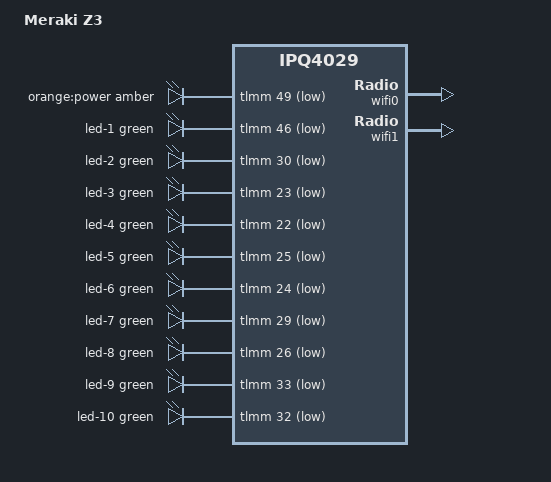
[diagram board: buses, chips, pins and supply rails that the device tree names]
// SPDX-License-Identifier: GPL-2.0-only
// Device Tree Source for Meraki Z3 (Fuzzy Cricket)

#include "qcom-ipq4029-wired-qca-common.dtsi"

/ {
	model = "Meraki Z3";
	compatible = "meraki,z3";
	leds {
		compatible = "gpio-leds";

		power_orange: power {
			color = <LED_COLOR_ID_AMBER>;
			function = LED_FUNCTION_POWER;
			label = "orange:power";
			gpios = <&tlmm 49 GPIO_ACTIVE_LOW>;
			panic-indicator;
		};

		led-1 {
			/* WAN left */
			color = <LED_COLOR_ID_GREEN>;
			function = LED_FUNCTION_WAN;
			function-enumerator = <0>;
			gpios = <&tlmm 46 GPIO_ACTIVE_LOW>;
		};

		led-2 {
			/* WAN right */
			color = <LED_COLOR_ID_GREEN>;
			function = LED_FUNCTION_WAN;
			function-enumerator = <1>;
			gpios = <&tlmm 30 GPIO_ACTIVE_LOW>;
		};

		led-3 {
			/* port 1 left */
			color = <LED_COLOR_ID_GREEN>;
			function = LED_FUNCTION_LAN;
			function-enumerator = <10>;
			gpios = <&tlmm 23 GPIO_ACTIVE_LOW>;
		};

		led-4 {
			/* port 1 right */
			color = <LED_COLOR_ID_GREEN>;
			function = LED_FUNCTION_LAN;
			function-enumerator = <11>;
			gpios = <&tlmm 22 GPIO_ACTIVE_LOW>;
		};

		led-5 {
			/* port 2 left */
			color = <LED_COLOR_ID_GREEN>;
			function = LED_FUNCTION_LAN;
			function-enumerator = <20>;
			gpios = <&tlmm 25 GPIO_ACTIVE_LOW>;
		};

		led-6 {
			/* port 2 right */
			color = <LED_COLOR_ID_GREEN>;
			function = LED_FUNCTION_LAN;
			function-enumerator = <21>;
			gpios = <&tlmm 24 GPIO_ACTIVE_LOW>;
		};

		led-7 {
			/* port 3 left */
			color = <LED_COLOR_ID_GREEN>;
			function = LED_FUNCTION_LAN;
			function-enumerator = <30>;
			gpios = <&tlmm 29 GPIO_ACTIVE_LOW>;
		};

		led-8 {
			/* port 3 right */
			color = <LED_COLOR_ID_GREEN>;
			function = LED_FUNCTION_LAN;
			function-enumerator = <31>;
			gpios = <&tlmm 26 GPIO_ACTIVE_LOW>;
		};

		led-9 {
			/* port 4 left */
			color = <LED_COLOR_ID_GREEN>;
			function = LED_FUNCTION_LAN;
			function-enumerator = <40>;
			gpios = <&tlmm 33 GPIO_ACTIVE_LOW>;
		};

		led-10 {
			/* port 4 right */
			color = <LED_COLOR_ID_GREEN>;
			function = LED_FUNCTION_LAN;
			function-enumerator = <41>;
			gpios = <&tlmm 32 GPIO_ACTIVE_LOW>;
		};
	};
};

&wifi0 {
	status = "okay";
	qcom,ath10k-calibration-variant = "Meraki-Z3";
};

&wifi1 {
	status = "okay";
	qcom,ath10k-calibration-variant = "Meraki-Z3";
};
